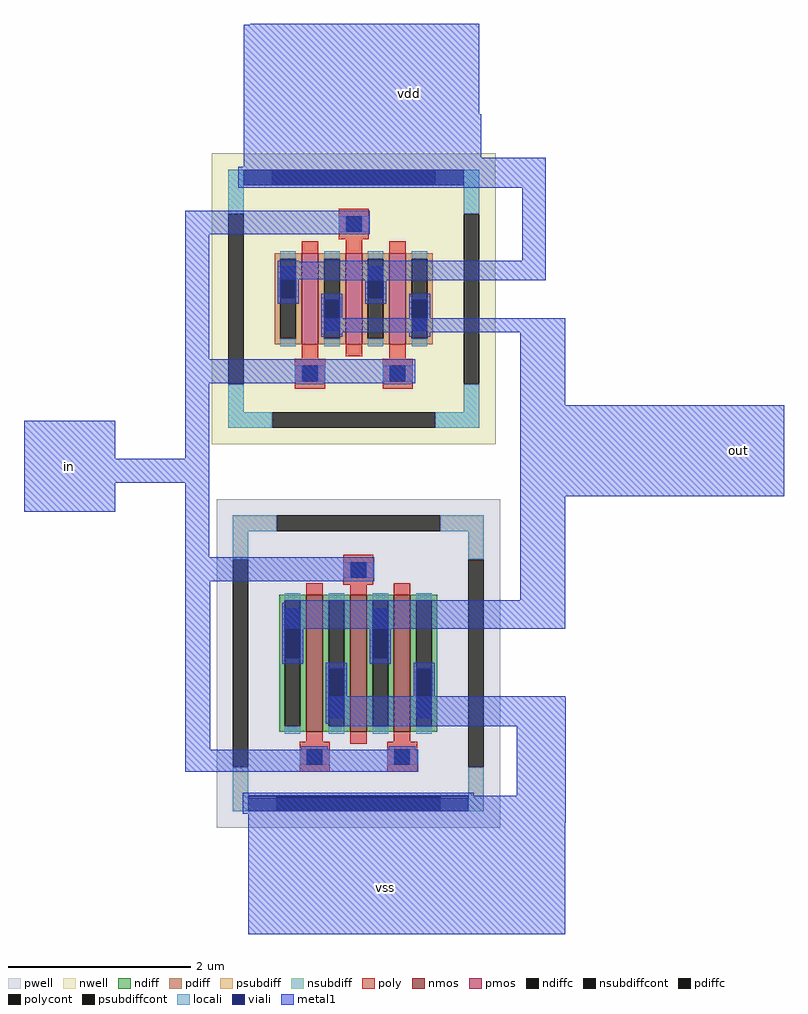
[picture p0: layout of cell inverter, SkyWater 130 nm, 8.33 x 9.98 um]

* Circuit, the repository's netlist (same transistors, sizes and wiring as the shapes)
.subckt inverter in out vdd vss
*.PININFO in:I out:O vdd:B vss:B
XM1 out in vss vss sky130_fd_pr__nfet_01v8 L=0.18 W=4.5 nf=3 ad='int((nf+1)/2) * W/nf * 0.29' as='int((nf+2)/2) * W/nf * 0.29'
+ pd='2*int((nf+1)/2) * (W/nf + 0.29)' ps='2*int((nf+2)/2) * (W/nf + 0.29)' nrd='0.29 / W' nrs='0.29 / W'
+ sa=0 sb=0 sd=0 mult=1 m=1 
XM2 out in vdd vdd sky130_fd_pr__pfet_01v8 L=0.18 W=3 nf=3 ad='int((nf+1)/2) * W/nf * 0.29' as='int((nf+2)/2) * W/nf * 0.29'
+ pd='2*int((nf+1)/2) * (W/nf + 0.29)' ps='2*int((nf+2)/2) * (W/nf + 0.29)' nrd='0.29 / W' nrs='0.29 / W'
+ sa=0 sb=0 sd=0 mult=1 m=1 
.ends
** flattened .save nodes
.end

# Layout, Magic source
magic
tech sky130A
magscale 1 2
<< metal1 >>
rect 28 2246 530 2248
rect 14 2050 530 2246
rect 14 1954 534 2050
rect 14 1888 676 1954
rect -114 1786 290 1838
rect -114 1512 -62 1786
rect 624 1728 676 1888
rect 190 1726 676 1728
rect 94 1688 676 1726
rect 190 1686 676 1688
rect 190 1572 718 1602
rect -114 1460 390 1512
rect -468 1294 -268 1378
rect -114 1294 -62 1460
rect -468 1242 -62 1294
rect -468 1178 -268 1242
rect -114 1078 -62 1242
rect 620 1412 718 1572
rect 620 1212 1198 1412
rect -114 1026 300 1078
rect -114 656 -60 1026
rect 620 984 718 1212
rect 106 922 718 984
rect 202 770 718 774
rect 202 708 720 770
rect -114 608 396 656
rect 612 556 720 708
rect 518 550 720 556
rect 24 496 720 550
rect 24 252 718 496
use sky130_fd_pr__nfet_01v8_BZBQCZ  XM1
transform 1 0 265 0 1 846
box -311 -360 311 360
use sky130_fd_pr__pfet_01v8_UTJYZV  XM2
transform -1 0 255 0 1 1645
box -311 -319 311 319
<< labels >>
flabel metal1 -468 1178 -268 1378 0 FreeSans 256 0 0 0 in
port 0 nsew
flabel metal1 998 1212 1198 1412 0 FreeSans 256 0 0 0 out
port 1 nsew
flabel metal1 224 254 424 454 0 FreeSans 256 0 0 0 vss
port 3 nsew
flabel metal1 276 1996 476 2196 0 FreeSans 256 0 0 0 vdd
port 2 nsew
<< end >>

# cell sky130_fd_pr__nfet_01v8_BZBQCZ: kit device sky130_fd_pr__nfet_01v8, w 1.5 l 0.18 m 1 nf 3 diffcov 100 polycov 100 guard 1 glc 1 grc 1 gtc 1 gbc 1 tbcov 100 rlcov 100 topc 1 botc 1 poverlap 0 doverlap 1 lmin 0.15 wmin 0.42 compatible {sky130_fd_pr__nfet_01v8 sky130_fd_pr__nfet_01v8_lvt sky130_fd_bs_flash__special_sonosfet_star sky130_fd_pr__nfet_g5v0d10v5 sky130_fd_pr__nfet_05v0_nvt sky130_fd_pr__nfet_03v3_nvt} full_metal 1 viasrc +40 viadrn -40 viagate 100 viagb 100 viagr 0 viagl 0 viagt 0

# cell sky130_fd_pr__pfet_01v8_UTJYZV: kit device sky130_fd_pr__pfet_01v8, w 1.0 l 0.18 m 1 nf 3 diffcov 100 polycov 100 guard 1 glc 1 grc 1 gtc 1 gbc 1 tbcov 100 rlcov 100 topc 1 botc 1 poverlap 0 doverlap 1 lmin 0.15 wmin 0.42 compatible {sky130_fd_pr__pfet_01v8 sky130_fd_pr__pfet_01v8_lvt sky130_fd_pr__pfet_01v8_hvt sky130_fd_pr__pfet_g5v0d10v5} full_metal 1 viasrc -40 viadrn +40 viagate 100 viagb 0 viagr 0 viagl 0 viagt 100
